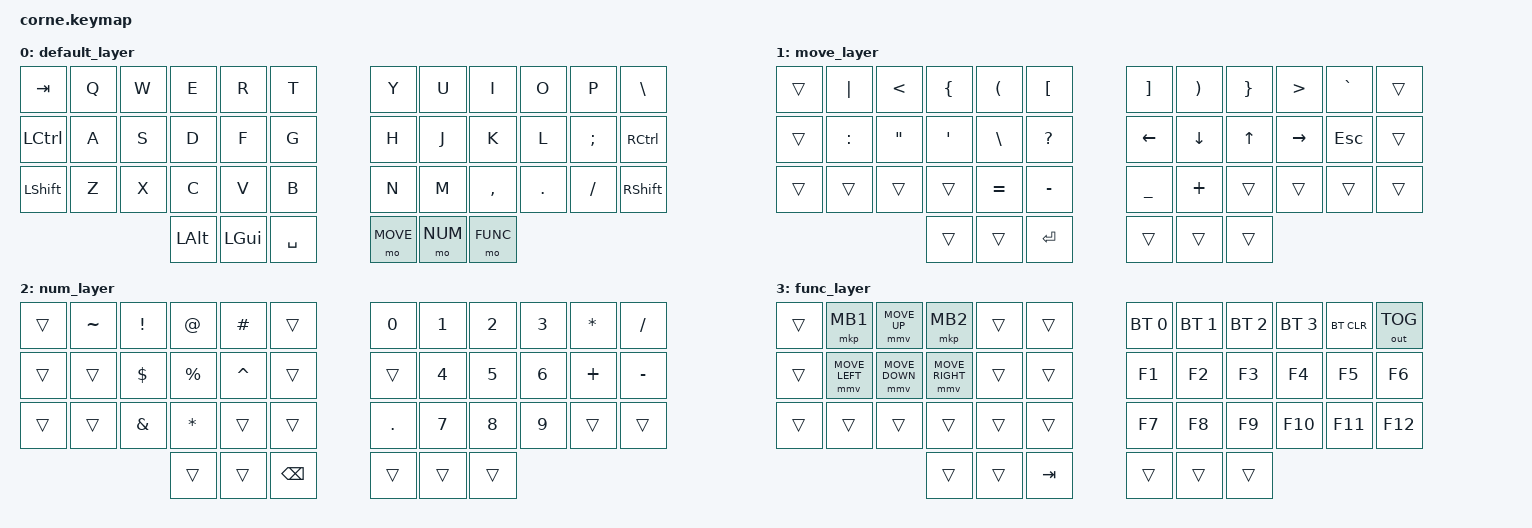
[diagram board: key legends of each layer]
/* vim: set filetype=devicetree : */
/*
 * Copyright (c) 2020 The ZMK Contributors
 *
 * SPDX-License-Identifier: MIT
 */

#include <behaviors.dtsi>
#include <dt-bindings/zmk/keys.h>
#include <dt-bindings/zmk/bt.h>
#include <dt-bindings/zmk/outputs.h>
#include <dt-bindings/zmk/pointing.h>

#define DEFAULT 0
#define MOVE    1
#define NUM     2
#define FUNC    3
#define UTIL    4
#define ZMK_POINTING_DEFAULT_MOVE_VAL 2400
#define ZMK_POINTING_DEFAULT_SCRL_VAL 20


/ {
        keymap {
                compatible = "zmk,keymap";

// -----------------------------------------------------------------------------------------
// |      |     |     |     |     |     |   |     |      |     |     |     |      |
// |      |     |     |     |     |     |   |     |      |     |     |     |      |
// |      |     |     |     |     |     |   |     |      |     |     |     |      |
//                    |     |     |     |   |     |      |     |
                default_layer {
                        bindings = <
   &kp TAB   &kp Q &kp W &kp E &kp R &kp T   &kp Y &kp U  &kp I     &kp O   &kp P    &kp BSLH 
   &kp LCTRL &kp A &kp S &kp D &kp F &kp G   &kp H &kp J  &kp K     &kp L   &kp SEMI &kp RCTRL
   &kp LSHFT &kp Z &kp X &kp C &kp V &kp B   &kp N &kp M  &kp COMMA &kp DOT &kp FSLH &kp RSHFT
               &kp LALT &kp LGUI &kp SPACE   &mo MOVE &mo NUM &mo FUNC
                        >;
                };
                move_layer {
                        bindings = <
   &trans &kp PIPE  &kp LT  &kp LBRC &kp LPAR  &kp LBKT     &kp RBKT  &kp RPAR &kp RBRC &kp GT    &kp GRAVE &trans
   &trans &kp COLON &kp DQT &kp SQT  &kp BSLH  &kp QMARK    &kp LEFT  &kp DOWN &kp UP   &kp RIGHT &kp ESC   &trans   &trans &trans    &trans  &trans   &kp EQUAL &kp MINUS    &kp UNDER &kp PLUS &trans   &trans    &trans    &trans
                            &trans   &trans    &kp RET      &trans    &trans   &trans
                        >;
                };
                num_layer {
                        bindings = <
   &trans &kp TILDE &kp EXCL &kp AT    &kp HASH  &trans     &kp N0  &kp N1 &kp N2 &kp N3 &kp ASTRK &kp FSLH
   &trans &trans    &kp DLLR &kp PRCNT &kp CARET &trans     &trans  &kp N4 &kp N5 &kp N6 &kp PLUS  &kp MINUS
   &trans &trans    &kp AMPS &kp ASTRK &trans    &trans     &kp DOT &kp N7 &kp N8 &kp N9 &trans    &trans
                             &trans    &trans    &kp BSPC   &trans    &trans   &trans
                        >;
                };
                func_layer {
                        bindings = <
   &trans &mkp MB1 &mmv MOVE_UP &mkp MB2  &trans  &trans                         &bt BT_SEL 0 &bt BT_SEL 1 &bt BT_SEL 2 &bt BT_SEL 3 &bt BT_CLR &out OUT_TOG
   &trans &mmv MOVE_LEFT &mmv MOVE_DOWN &mmv MOVE_RIGHT &trans &trans            &kp F1 &kp F2 &kp F3 &kp F4  &kp F5  &kp F6
   &trans &trans &trans &trans &trans  &trans                                    &kp F7 &kp F8 &kp F9 &kp F10 &kp F11 &kp F12
                        &trans &trans  &kp TAB                                   &trans &trans  &trans
                        >;
                };
        };
};

/ {
    combos {
        compatible = "zmk,combos";
        combo_esc {
            timeout-ms = <50>;
            key-positions = <19 20>;
            bindings = <&kp ESC>;
        };
        combo_tilde {
            timeout-ms = <50>;
            key-positions = <1 2>;
            bindings = <&kp TILDE>;
        };
    };
};


&nice_view_spi {
    cs-gpios = <&pro_micro 0 GPIO_ACTIVE_HIGH>;
};
